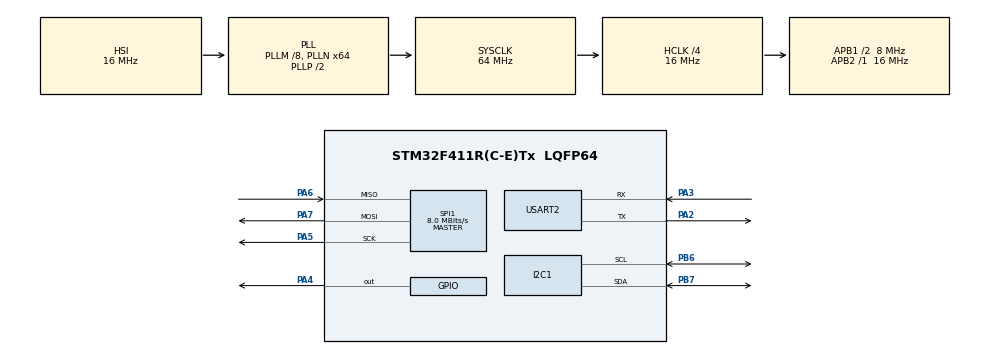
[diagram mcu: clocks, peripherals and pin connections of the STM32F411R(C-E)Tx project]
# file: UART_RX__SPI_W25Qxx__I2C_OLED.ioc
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I2C1.I2C_Mode=I2C_Fast
Mcu.Family=STM32F4
Mcu.Name=STM32F411R(C-E)Tx
Mcu.Package=LQFP64
NVIC.PriorityGroup=NVIC_PRIORITYGROUP_0
PA2.Mode=Asynchronous
PA2.Signal=USART2_TX
PA3.Mode=Asynchronous
PA3.Signal=USART2_RX
PA4.Signal=GPIO_Output
PA5.Mode=Full_Duplex_Master
PA5.Signal=SPI1_SCK
PA6.Mode=Full_Duplex_Master
PA6.Signal=SPI1_MISO
PA7.Mode=Full_Duplex_Master
PA7.Signal=SPI1_MOSI
PB6.Mode=I2C
PB6.Signal=I2C1_SCL
PB7.Mode=I2C
PB7.Signal=I2C1_SDA
PC14-OSC32_IN.Mode=LSE-External-Oscillator
PC14-OSC32_IN.Signal=RCC_OSC32_IN
PC15-OSC32_OUT.Mode=LSE-External-Oscillator
PC15-OSC32_OUT.Signal=RCC_OSC32_OUT
ProjectManager.HeapSize=0x200
ProjectManager.StackSize=0x400
ProjectManager.TargetToolchain=STM32CubeIDE
RCC.48MHZClocksFreq_Value=32000000
RCC.AHBCLKDivider=RCC_SYSCLK_DIV4
RCC.AHBFreq_Value=16000000
RCC.APB1CLKDivider=RCC_HCLK_DIV2
RCC.APB1Freq_Value=8000000
RCC.APB1TimFreq_Value=16000000
RCC.APB2Freq_Value=16000000
RCC.APB2TimFreq_Value=16000000
RCC.CortexFreq_Value=16000000
RCC.FLatency-AdvancedSettings=FLASH_LATENCY_0
RCC.HCLKFreq_Value=16000000
RCC.HSE_VALUE=8000000
RCC.HSI_VALUE=16000000
RCC.PLLM=8
RCC.PLLN=64
RCC.SYSCLKFreq_VALUE=64000000
RCC.SYSCLKSource=RCC_SYSCLKSOURCE_PLLCLK
RCC.VCOOutputFreq_Value=128000000
SPI1.CalculateBaudRate=8.0 MBits/s
SPI1.Direction=SPI_DIRECTION_2LINES
SPI1.Mode=SPI_MODE_MASTER
SPI1.VirtualType=VM_MASTER
USART2.VirtualMode=VM_ASYNC
board=NUCLEO-F411RE

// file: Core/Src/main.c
/* USER CODE BEGIN Header */
/**
 ******************************************************************************
 * @file           : main.c
 * @brief          : Main program body
 ******************************************************************************
 * @attention
 *
 * Copyright (c) 2023 STMicroelectronics.
 * All rights reserved.
 *
 * Published By : Sandesh Kale
 * Github       : github/JAGAHPEE
 *
 * This software is licensed under terms that can be found in the LICENSE file
 * in the root directory of this software component.
 * If no LICENSE file comes with this software, it is provided AS-IS.
 *
 ******************************************************************************
 */
/* USER CODE END Header */
#include "main.h"

/* USER CODE BEGIN Includes */
#include "ssd1306.h"
#include "w25qxx.h"
#include "string.h"

/* USER CODE END Includes */

I2C_HandleTypeDef hi2c1;

SPI_HandleTypeDef hspi1;

UART_HandleTypeDef huart2;

/* USER CODE BEGIN PV */
uint8_t name[] = "Sandesh Kale\n";
uint8_t str[109];
//uint8_t buffer[109];
uint32_t length=0;
/* USER CODE END PV */

void SystemClock_Config(void);
static void MX_GPIO_Init(void);
static void MX_I2C1_Init(void);
static void MX_SPI1_Init(void);
static void MX_USART2_UART_Init(void);

/* USER CODE BEGIN 0 */

//Press 1 to start Receive (Acknoledge)
uint8_t uart_check()
{
	uint8_t buff;
	HAL_UART_Transmit(&huart2, (uint8_t*)"\n\rReady to Receive: ", 20, 10);
	HAL_UART_Receive(&huart2, &buff, 1, 5000);
	if(buff=='1')
	{
		return 1;
	}
	return 0;
}

// Uart Receiver in Global Variable
//Press 0 to Terminate Operation
void uart_receive(uint8_t[],uint8_t length)
{
	uint8_t buff[1],i=0;
	HAL_UART_Receive(&huart2, buff, 1, 5000);
	HAL_UART_Transmit(&huart2, buff, 1, 10);
	str[i] = buff[0];
	while(str[i]!='2'&&i<length-1&&(str[i]!=13))
	{
		HAL_UART_Receive(&huart2, buff, 1, 3000);
		if(buff[0]!='2')
		{
			HAL_UART_Transmit(&huart2, buff, 1, 10);
		}
		str[++i] = buff[0];
	}
	if(i==0)
	{
		HAL_UART_Transmit(&huart2, (uint8_t*)"\n\rNo Data Received", 18, 10);
		return;
	}
	str[i]='\0';
	return;
}

// Get the Length of the String
uint32_t length_of_string(uint8_t str[])
{
	uint8_t i=0;
	while(str[i]!='\0')
	{
		i++;
	}
	return i;
}

// Display String in Multiple lines MAX 108 Characters
void display_oled(uint8_t str[],uint8_t length)
{
	SSD1306_Clear();

	SSD1306_GotoXY(0, 0);

	uint32_t i=0,j=0,k=18,l=0;

	while(i<length && str[i]!='\0')
	{
		while(i<k && str[i]!='\0')
		{
			SSD1306_GotoXY(l*7,j);
			uint8_t buff[2];
			buff[0]= str[i];
			buff[1]= '\0';
			ssd1306_write(buff, Font_7x10);
			HAL_Delay(50);
			i++;
			l++;
		}
		l=0;
		if(j==0)
		{
			j++;
		}
		j=j+10;
		k=k+18;
	}

}
/* USER CODE END 0 */

int main(void)
{

	/* MCU Configuration--------------------------------------------------------*/

	/* Reset of all peripherals, Initializes the Flash interface and the Systick. */
	HAL_Init();

	/* Configure the system clock */
	SystemClock_Config();

	/* Initialize all configured peripherals */
	MX_GPIO_Init();
	MX_I2C1_Init();
	MX_SPI1_Init();
	MX_USART2_UART_Init();
	/* USER CODE BEGIN 2 */
	SSD1306_Init();
	W25qxx_Init();
	SSD1306_Clear();
	SSD1306_GotoXY(0, 0);

	/* USER CODE END 2 */

	/* Infinite loop */
	while (1)
	{

		/* USER CODE BEGIN 3 */
		if(uart_check())
		{
			HAL_UART_Receive(&huart2, (uint8_t*)"\n\rType: ",8, 10);

			uart_receive(str,sizeof(str));

			HAL_UART_Transmit(&huart2, (uint8_t*)"\n\rData Received U: ",19, 10);

			length = length_of_string(str);

			HAL_UART_Transmit(&huart2, str,length, 100);

			W25qxx_EraseSector(0);

			W25qxx_WriteSector(str, 0, 0, length_of_string(str));
			uint8_t buffer[length+1];
			W25qxx_ReadSector(buffer, 0, 0, length_of_string(str));

			HAL_UART_Transmit(&huart2, (uint8_t*)"\n\rData Received FLASH: ",25, 100);

			HAL_UART_Transmit(&huart2, buffer, length_of_string(str), 100);

			SSD1306_Clear();
			buffer[length] = '\0';
			display_oled(buffer, length_of_string(buffer));

			HAL_Delay(1000);
		}
	}
	/* USER CODE END 3 */
}

void SystemClock_Config(void)
{
	RCC_OscInitTypeDef RCC_OscInitStruct = {0};
	RCC_ClkInitTypeDef RCC_ClkInitStruct = {0};

	/** Configure the main internal regulator output voltage
	 */
	__HAL_RCC_PWR_CLK_ENABLE();
	__HAL_PWR_VOLTAGESCALING_CONFIG(PWR_REGULATOR_VOLTAGE_SCALE1);

	/** Initializes the RCC Oscillators according to the specified parameters
	 * in the RCC_OscInitTypeDef structure.
	 */
	RCC_OscInitStruct.OscillatorType = RCC_OSCILLATORTYPE_HSI;
	RCC_OscInitStruct.HSIState = RCC_HSI_ON;
	RCC_OscInitStruct.HSICalibrationValue = RCC_HSICALIBRATION_DEFAULT;
	RCC_OscInitStruct.PLL.PLLState = RCC_PLL_ON;
	RCC_OscInitStruct.PLL.PLLSource = RCC_PLLSOURCE_HSI;
	RCC_OscInitStruct.PLL.PLLM = 8;
	RCC_OscInitStruct.PLL.PLLN = 64;
	RCC_OscInitStruct.PLL.PLLP = RCC_PLLP_DIV2;
	RCC_OscInitStruct.PLL.PLLQ = 4;
	if (HAL_RCC_OscConfig(&RCC_OscInitStruct) != HAL_OK)
	{
		Error_Handler();
	}

	/** Initializes the CPU, AHB and APB buses clocks
	 */
	RCC_ClkInitStruct.ClockType = RCC_CLOCKTYPE_HCLK|RCC_CLOCKTYPE_SYSCLK
			|RCC_CLOCKTYPE_PCLK1|RCC_CLOCKTYPE_PCLK2;
	RCC_ClkInitStruct.SYSCLKSource = RCC_SYSCLKSOURCE_PLLCLK;
	RCC_ClkInitStruct.AHBCLKDivider = RCC_SYSCLK_DIV4;
	RCC_ClkInitStruct.APB1CLKDivider = RCC_HCLK_DIV2;
	RCC_ClkInitStruct.APB2CLKDivider = RCC_HCLK_DIV1;

	if (HAL_RCC_ClockConfig(&RCC_ClkInitStruct, FLASH_LATENCY_0) != HAL_OK)
	{
		Error_Handler();
	}
}

static void MX_I2C1_Init(void)
{

	hi2c1.Instance = I2C1;
	hi2c1.Init.ClockSpeed = 400000;
	hi2c1.Init.DutyCycle = I2C_DUTYCYCLE_2;
	hi2c1.Init.OwnAddress1 = 0;
	hi2c1.Init.AddressingMode = I2C_ADDRESSINGMODE_7BIT;
	hi2c1.Init.DualAddressMode = I2C_DUALADDRESS_DISABLE;
	hi2c1.Init.OwnAddress2 = 0;
	hi2c1.Init.GeneralCallMode = I2C_GENERALCALL_DISABLE;
	hi2c1.Init.NoStretchMode = I2C_NOSTRETCH_DISABLE;
	if (HAL_I2C_Init(&hi2c1) != HAL_OK)
	{
		Error_Handler();
	}

}

static void MX_SPI1_Init(void)
{

	/* SPI1 parameter configuration*/
	hspi1.Instance = SPI1;
	hspi1.Init.Mode = SPI_MODE_MASTER;
	hspi1.Init.Direction = SPI_DIRECTION_2LINES;
	hspi1.Init.DataSize = SPI_DATASIZE_8BIT;
	hspi1.Init.CLKPolarity = SPI_POLARITY_LOW;
	hspi1.Init.CLKPhase = SPI_PHASE_1EDGE;
	hspi1.Init.NSS = SPI_NSS_SOFT;
	hspi1.Init.BaudRatePrescaler = SPI_BAUDRATEPRESCALER_2;
	hspi1.Init.FirstBit = SPI_FIRSTBIT_MSB;
	hspi1.Init.TIMode = SPI_TIMODE_DISABLE;
	hspi1.Init.CRCCalculation = SPI_CRCCALCULATION_DISABLE;
	hspi1.Init.CRCPolynomial = 10;
	if (HAL_SPI_Init(&hspi1) != HAL_OK)
	{
		Error_Handler();
	}

}

static void MX_USART2_UART_Init(void)
{

	huart2.Instance = USART2;
	huart2.Init.BaudRate = 115200;
	huart2.Init.WordLength = UART_WORDLENGTH_8B;
	huart2.Init.StopBits = UART_STOPBITS_1;
	huart2.Init.Parity = UART_PARITY_NONE;
	huart2.Init.Mode = UART_MODE_TX_RX;
	huart2.Init.HwFlowCtl = UART_HWCONTROL_NONE;
	huart2.Init.OverSampling = UART_OVERSAMPLING_16;
	if (HAL_UART_Init(&huart2) != HAL_OK)
	{
		Error_Handler();
	}

}

static void MX_GPIO_Init(void)
{
	GPIO_InitTypeDef GPIO_InitStruct = {0};

	/* GPIO Ports Clock Enable */
	__HAL_RCC_GPIOC_CLK_ENABLE();
	__HAL_RCC_GPIOA_CLK_ENABLE();
	__HAL_RCC_GPIOB_CLK_ENABLE();

	/*Configure GPIO pin Output Level */
	HAL_GPIO_WritePin(GPIOA, GPIO_PIN_4, GPIO_PIN_RESET);

	/*Configure GPIO pin : PA4 */
	GPIO_InitStruct.Pin = GPIO_PIN_4;
	GPIO_InitStruct.Mode = GPIO_MODE_OUTPUT_PP;
	GPIO_InitStruct.Pull = GPIO_NOPULL;
	GPIO_InitStruct.Speed = GPIO_SPEED_FREQ_LOW;
	HAL_GPIO_Init(GPIOA, &GPIO_InitStruct);

}

void Error_Handler(void)
{
	__disable_irq();
	while (1)
	{
	}
}
